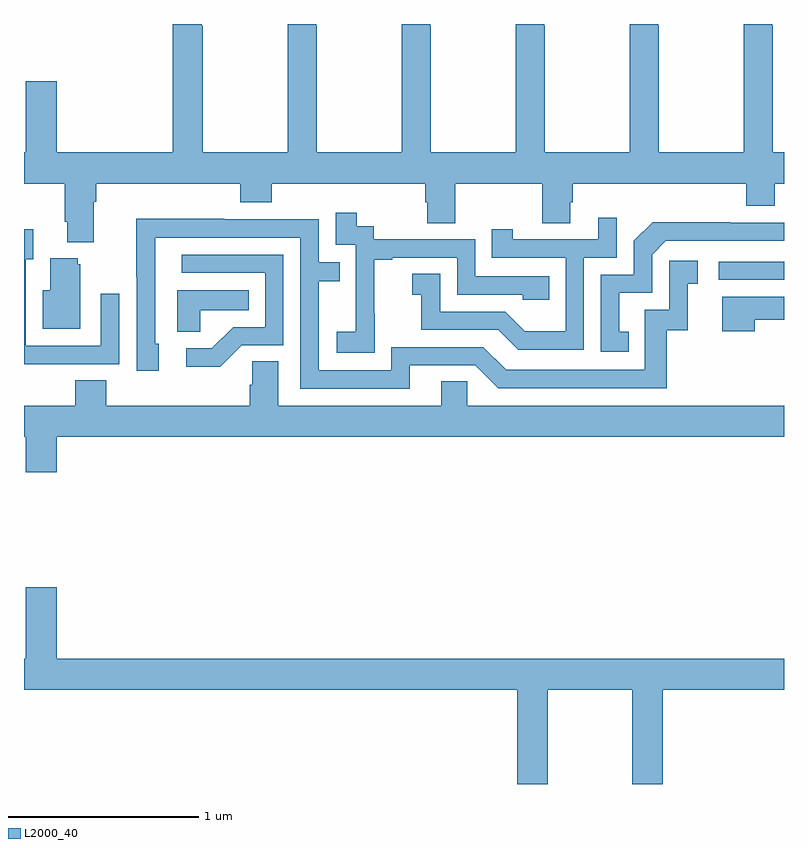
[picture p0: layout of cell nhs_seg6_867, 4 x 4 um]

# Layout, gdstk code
import gdstk
lib = gdstk.Library(unit=1e-6, precision=1e-09)
def R(c, l, rs):  # rectangles x0, y0, x1, y1
    for r in rs: c.add(gdstk.rectangle(r[:2], r[2:], *l))
def P(c, l, *ps):  # polygons
    for p in ps: c.add(gdstk.Polygon(p, *l))
L2000_40 = (2000, 40)

nhs_seg6_867 = lib.new_cell('nhs_seg6_867')
R(nhs_seg6_867, L2000_40, [(168.657,956.154,169,956.25)])
P(nhs_seg6_867, L2000_40, [(165.367,956.564),(165.38,956.564),(165.38,956.66),(166.139,956.66),(166.139,956.561),(166.304,956.561),(166.304,956.66),(167.111,956.66),(167.111,956.562),(167.123,956.562),(167.123,956.452),(167.271,956.452),(167.271,956.66),(167.728,956.66),(167.728,956.452),(167.875,956.452),(167.875,956.562),(167.888,956.562),(167.888,956.66),(168.8,956.66),(168.8,956.543),(168.952,956.543),(168.952,956.66),(169,956.66),(169,956.824),(168.942,956.824),(168.942,957.491),(168.939,957.491),(168.939,957.5),(168.789,957.5),(168.789,957.491),(168.787,957.491),(168.787,956.824),(168.342,956.824),(168.342,957.491),(168.339,957.491),(168.339,957.5),(168.189,957.5),(168.189,957.491),(168.187,957.491),(168.187,956.824),(167.742,956.824),(167.742,957.491),(167.739,957.491),(167.739,957.5),(167.589,957.5),(167.589,957.491),(167.587,957.491),(167.587,956.824),(167.142,956.824),(167.142,957.491),(167.139,957.491),(167.139,957.5),(166.989,957.5),(166.989,957.491),(166.987,957.491),(166.987,956.824),(166.542,956.824),(166.542,957.491),(166.539,957.491),(166.539,957.5),(166.389,957.5),(166.389,957.491),(166.387,957.491),(166.387,956.824),(165.942,956.824),(165.942,957.491),(165.935,957.491),(165.935,957.5),(165.782,957.5),(165.782,956.824),(165.172,956.824),(165.172,957.199),(165.008,957.199),(165.008,956.824),(165,956.824),(165,956.66),(165.215,956.66),(165.215,956.458),(165.227,956.458),(165.227,956.351),(165.367,956.351)],
  [(166.845,955.975),(166.844,955.975),(166.844,956.259),(166.939,956.259),(166.939,956.271),(167.28,956.271),(167.28,956.076),(167.625,956.076),(167.625,956.049),(167.765,956.049),(167.765,956.172),(167.376,956.172),(167.376,956.367),(166.842,956.367),(166.842,956.436),(166.75,956.436),(166.75,956.506),(166.641,956.506),(166.641,956.337),(166.746,956.337),(166.746,956.108),(166.745,956.108),(166.745,955.879),(166.647,955.879),(166.647,955.769),(166.845,955.769)],
  [(167.946,956.271),(168.12,956.271),(168.12,956.479),(168.023,956.479),(168.023,956.367),(167.572,956.367),(167.572,956.419),(167.461,956.419),(167.461,956.271),(167.85,956.271),(167.85,955.882),(167.636,955.882),(167.532,955.986),(167.19,955.986),(167.19,956.185),(167.043,956.185),(167.043,956.075),(167.092,956.075),(167.092,955.89),(167.495,955.89),(167.6,955.785),(167.946,955.785)],
  [(167.029,955.704),(167.376,955.704),(167.496,955.584),(168.383,955.584),(168.383,955.887),(168.494,955.887),(168.494,956.133),(168.547,956.133),(168.547,956.254),(168.396,956.254),(168.396,955.995),(168.267,955.995),(168.267,955.68),(167.538,955.68),(167.418,955.8),(166.932,955.8),(166.932,955.677),(166.551,955.677),(166.551,956.146),(166.661,956.146),(166.661,956.247),(166.551,956.247),(166.551,956.472),(166.055,956.472),(166.055,956.474),(165.592,956.474),(165.592,956.167),(165.594,956.167),(165.594,955.674),(165.709,955.674),(165.709,955.818),(165.69,955.818),(165.69,956.376),(166.455,956.376),(166.455,955.581),(167.029,955.581)],
  [(168.182,955.881),(168.133,955.881),(168.133,956.085),(168.306,956.085),(168.306,956.286),(168.378,956.358),(169,956.358),(169,956.454),(168.716,956.454),(168.716,956.456),(168.308,956.456),(168.21,956.358),(168.21,956.181),(168.036,956.181),(168.036,955.776),(168.182,955.776)],
  [(165.185,955.71),(165.501,955.71),(165.501,956.08),(165.405,956.08),(165.405,955.806),(165.009,955.806),(165.009,956.263),(165.049,956.263),(165.049,956.419),(165,956.419),(165,955.709),(165.185,955.709)],
  [(166.146,955.809),(166.365,955.809),(166.365,956.286),(165.831,956.286),(165.831,956.19),(166.269,956.19),(166.269,955.905),(166.1,955.905),(165.989,955.794),(165.855,955.794),(165.855,955.697),(166.033,955.697)],
  [(165.295,956.235),(165.284,956.235),(165.284,956.266),(165.137,956.266),(165.137,956.098),(165.098,956.098),(165.098,955.895),(165.295,955.895)],
  [(165.927,955.994),(166.184,955.994),(166.184,956.098),(165.806,956.098),(165.806,955.879),(165.927,955.879)],
  [(168.845,955.943),(169,955.943),(169,956.065),(168.674,956.065),(168.674,955.884),(168.845,955.884)],
  [(165.172,955.328),(169,955.328),(169,955.492),(167.334,955.492),(167.334,955.619),(167.195,955.619),(167.195,955.492),(166.339,955.492),(166.339,955.724),(166.2,955.724),(166.2,955.601),(166.187,955.601),(166.187,955.492),(165.434,955.492),(165.434,955.625),(165.269,955.625),(165.269,955.492),(165,955.492),(165,955.328),(165.008,955.328),(165.008,955.14),(165.172,955.14)],
  [(167.757,953.996),(168.202,953.996),(168.202,953.5),(168.362,953.5),(168.362,953.996),(169,953.996),(169,954.16),(165.172,954.16),(165.172,954.535),(165.008,954.535),(165.008,954.16),(165,954.16),(165,953.996),(167.597,953.996),(167.597,953.5),(167.757,953.5)])

lib.write_gds('nhs_seg6_867.gds')
